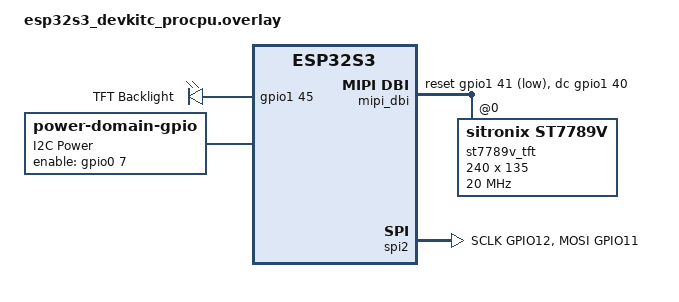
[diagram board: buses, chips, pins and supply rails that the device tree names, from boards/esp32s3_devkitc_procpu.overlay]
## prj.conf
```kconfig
CONFIG_LOG=y

CONFIG_SPI=y
CONFIG_GPIO=y
CONFIG_DISPLAY=y

# 启用 MIPI DBI for LCD
CONFIG_MIPI_DBI=y
CONFIG_MIPI_DBI_SPI=y

# 启用 LVGL 核心功能
CONFIG_LVGL=y
CONFIG_LV_COLOR_DEPTH_16=y
CONFIG_LV_USE_LABEL=y
CONFIG_LV_USE_BUTTON=y
CONFIG_LV_USE_BAR=y
CONFIG_LV_USE_SLIDER=y
CONFIG_LV_USE_ARC=y
CONFIG_LV_USE_SWITCH=y
CONFIG_LV_USE_CHECKBOX=y
CONFIG_LV_USE_THEME_DEFAULT=n
CONFIG_LV_USE_LOG=y

# 字体配置 - 清晰位图字体
CONFIG_LV_FONT_MONTSERRAT_12=y
CONFIG_LV_FONT_MONTSERRAT_8=y
CONFIG_LV_FONT_MONTSERRAT_18=y
CONFIG_LV_FONT_DEFAULT_MONTSERRAT_8=y
CONFIG_LV_FONT_UNSCII_8=y
CONFIG_LV_FONT_UNSCII_16=y

# 内存和性能优化
CONFIG_LV_Z_MEM_POOL_SIZE=32768
CONFIG_LV_Z_BUFFER_ALLOC_STATIC=y

# 启用复杂绘制以避免警告
CONFIG_LV_DRAW_SW_COMPLEX=y

# 显示器设置 - 确保像素完美
CONFIG_LV_COLOR_16_SWAP=n

# LVGL 显示缓冲区配置 - 最小化以减少花色
CONFIG_LV_Z_VDB_SIZE=10
CONFIG_LV_Z_MEM_POOL_SIZE=16384
CONFIG_LV_Z_MEM_POOL_SYS_HEAP=y

# LVGL 刷新配置 - 提高刷新率以获得更清晰显示
CONFIG_LV_DEF_REFR_PERIOD=30
CONFIG_LV_Z_AUTO_INIT=y
CONFIG_LV_Z_FLUSH_THREAD=n

# 增加栈大小
CONFIG_MAIN_STACK_SIZE=8192
CONFIG_SYSTEM_WORKQUEUE_STACK_SIZE=8192
```

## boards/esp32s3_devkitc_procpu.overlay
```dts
/*
 *	FT display overlay for ESP32-S3 DevKitC
 */
/ {
	chosen {
		zephyr,display = &st7789v_tft;
	};

	aliases {
		backlight = &tft_backlight;
	};

	leds {
		compatible = "gpio-leds";
		status = "okay";

		tft_backlight: tft_backlight {
			label = "TFT Backlight";
			gpios = <&gpio1 45 GPIO_ACTIVE_HIGH>;
		};
	};

	mipi_dbi {
		compatible = "zephyr,mipi-dbi-spi";
		spi-dev = <&spi2>;
		dc-gpios = <&gpio1 40 GPIO_ACTIVE_HIGH>;
		reset-gpios = <&gpio1 41 GPIO_ACTIVE_LOW>;
		write-only;
		#address-cells = <1>;
		#size-cells = <0>;

		st7789v_tft: st7789v_tft@0 {
			compatible = "sitronix,st7789v";
			status = "okay";

			/* Also powered by i2c_reg */
			power-domains = <&i2c_reg>;

			mipi-max-frequency = <DT_FREQ_M(20)>;
			reg = <0>;
			width = <240>;
			height = <135>;
			x-offset = <40>;
			y-offset = <52>;
			vcom = <0x20>;
			gctrl = <0x35>;
			vrhs = <0x0b>;
			vdvs = <0x20>;
			mdac = <0x68>;
			gamma = <0x01>;
			colmod = <0x55>;
			lcm = <0x2c>;
			porch-param = [0c 0c 00 33 33];
			cmd2en-param = [5a 69 02 01];
			pwctrl1-param = [a4 a1];
			pvgam-param = [70 2C 2E 15 10 09 48 33 53 0B 19 18 20 25];
			nvgam-param = [70 2C 2E 15 10 09 48 33 53 0B 19 18 20 25];
			ram-param = [00 F0];
			rgb-param = [40 02 14];
			mipi-mode = "MIPI_DBI_MODE_SPI_4WIRE";
		};
	};

	/*
	 *	On-board regulator powers I2C pull-ups and external devices connected
	 *	via the STEMMA QT connector.
	 */
	i2c_reg: i2c_reg {
		label = "I2C Power";
		compatible = "power-domain-gpio";
		#power-domain-cells = <0>;
		enable-gpios = <&gpio0 7 GPIO_ACTIVE_HIGH>;
	};

};

&spi2 { 
	status = "okay"; 
	cs-gpios = <&gpio0 10 GPIO_ACTIVE_LOW>; 
	pinctrl-0 = <&spi2_pins>; 
	pinctrl-names = "default"; 
}; 

&pinctrl { 
	spi2_pins: spi2_pins { 
		group1 { 
			pinmux = <SPIM2_SCLK_GPIO12>; 
		}; 
		group2 { 
			pinmux = <SPIM2_MOSI_GPIO11>; 
			output-enable; 
		}; 
	}; 
};
```

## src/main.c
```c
/*
 * ESP32-S3 TFT Display Application with LVGL
 * Copyright (c) 2025 Heiweilu
 *
 * SPDX-License-Identifier: Apache-2.0
 *
 * ========================================
 * ESP32-S3 + ST7789V TFT Display Application
 * =======================================
 *
 * Hardware Configuration:
 * - Development Board: ESP32-S3 DevKit
 * - Display: ST7789V TFT (240x135 RGB565)
 * - Connection Method: SPI Interface + GPIO Backlight Control
 *
 * Software Architecture:
 * - Zephyr RTOS 4.2.99
 * - LVGL 9.x GUI Framework
 * - Modular Design: Using the lvgl_wrapper Wrapper Library
 *
 * Features:
 * - Modern GUI Interface Design
 * - Status bar: Time display + status icons
 * - Content area: Data card display (sensor data such as temperature)
 * - Bottom navigation: Navigation controls such as the HOME button
 * - Real-time data updates
 *
 * Wrapper libraries used:
 * - lvgl_wrapper.h: LVGL control wrapper function declarations
 * - lvgl_wrapper.c: LVGL control wrapper function implementations
 *
 * Compile command:
 * west build -b esp32s3_devkitc/esp32s3/procpu .\samples\boards\espressif\apps\lcd\tft\
 */

#include <zephyr/kernel.h>
#include <zephyr/device.h>
#include <zephyr/drivers/display.h>
#include <zephyr/devicetree.h>
#include <zephyr/drivers/gpio.h>
#include <zephyr/init.h>
#include <zephyr/devicetree.h>
#include <lvgl.h>
#include <stdio.h>
#include <string.h>
#include <lvgl_input_device.h>
#include "lvgl_wrapper.h"

#include <zephyr/logging/log.h>
LOG_MODULE_REGISTER(main, LOG_LEVEL_INF);

LV_FONT_DECLARE(lv_font_unscii_8)

#define TFT_NODE DT_CHOSEN(zephyr_display)

#if DT_NODE_EXISTS(TFT_NODE)
static const struct gpio_dt_spec backlight = GPIO_DT_SPEC_GET(DT_ALIAS(backlight), gpios);
#endif

/* Test Mode Configuration Macros
 * Usage:
 * 1. Only test LCD functionality: ENABLE_BASIC_LCD_TEST=1, ENABLE_LVGL_TEST=0
 * 2. Only test LVGL functionality: ENABLE_BASIC_LCD_TEST=0, ENABLE_LVGL_TEST=1
 * 3. Disabling both will cause an error
 */
#define ENABLE_LVGL_TEST      1 /* 1: Enable LVGL test with standard APIs, 0: Disable */
#define ENABLE_BASIC_LCD_TEST 0 /* 1: Enable basic LCD test, 0: Disable */

#if ENABLE_BASIC_LCD_TEST
/* Draw a border */
static void draw_border(uint16_t *buf, int width, int height, uint16_t color)
{
	/* Draw a thicker top and bottom border (2 pixels thick) */
	for (int x = 0; x < width; x++) {
		buf[x] = color;                        /* Top row */
		buf[width + x] = color;                /* Second row */
		buf[(height - 2) * width + x] = color; /* Second to last row */
		buf[(height - 1) * width + x] = color; /* Last row */
	}
	/* Draw a thicker left and right border (2 pixels thick) */
	for (int y = 0; y < height; y++) {
		buf[y * width] = color;               /* Left column */
		buf[y * width + 1] = color;           /* Second column */
		buf[y * width + (width - 2)] = color; /* Second to last column */
		buf[y * width + (width - 1)] = color; /* Last column */
	}
}

/* Simple 8x8 pixel font data (0-9) */
static const uint8_t font_8x8_digits[10][8] = {
	{0x3C, 0x66, 0x6E, 0x76, 0x66, 0x66, 0x3C, 0x00}, /* 0 */
	{0x18, 0x18, 0x38, 0x18, 0x18, 0x18, 0x7E, 0x00}, /* 1 */
	{0x3C, 0x66, 0x06, 0x0C, 0x30, 0x60, 0x7E, 0x00}, /* 2 */
	{0x3C, 0x66, 0x06, 0x1C, 0x06, 0x66, 0x3C, 0x00}, /* 3 */
	{0x06, 0x0E, 0x1E, 0x66, 0x7F, 0x06, 0x06, 0x00}, /* 4 */
	{0x7E, 0x60, 0x7C, 0x06, 0x06, 0x66, 0x3C, 0x00}, /* 5 */
	{0x3C, 0x66, 0x60, 0x7C, 0x66, 0x66, 0x3C, 0x00}, /* 6 */
	{0x7E, 0x66, 0x0C, 0x18, 0x18, 0x18, 0x18, 0x00}, /* 7 */
	{0x3C, 0x66, 0x66, 0x3C, 0x66, 0x66, 0x3C, 0x00}, /* 8 */
	{0x3C, 0x66, 0x66, 0x3E, 0x06, 0x66, 0x3C, 0x00}, /* 9 */
};

/* Simple letter font data (partial letters A-Z) */
static const uint8_t font_8x8_letters[26][8] = {
	{0x3C, 0x66, 0x66, 0x7E, 0x66, 0x66, 0x66, 0x00}, /* A */
	{0x7C, 0x66, 0x66, 0x7C, 0x66, 0x66, 0x7C, 0x00}, /* B */
	{0x3C, 0x66, 0x60, 0x60, 0x60, 0x66, 0x3C, 0x00}, /* C */
	{0x78, 0x6C, 0x66, 0x66, 0x66, 0x6C, 0x78, 0x00}, /* D */
	{0x7E, 0x60, 0x60, 0x78, 0x60, 0x60, 0x7E, 0x00}, /* E */
	{0x7E, 0x60, 0x60, 0x78, 0x60, 0x60, 0x60, 0x00}, /* F */
	{0x3C, 0x66, 0x60, 0x6E, 0x66, 0x66, 0x3C, 0x00}, /* G */
	{0x66, 0x66, 0x66, 0x7E, 0x66, 0x66, 0x66, 0x00}, /* H */
	{0x3C, 0x18, 0x18, 0x18, 0x18, 0x18, 0x3C, 0x00}, /* I */
	{0x1E, 0x0C, 0x0C, 0x0C, 0x0C, 0x6C, 0x38, 0x00}, /* J */
	{0x66, 0x6C, 0x78, 0x70, 0x78, 0x6C, 0x66, 0x00}, /* K */
	{0x60, 0x60, 0x60, 0x60, 0x60, 0x60, 0x7E, 0x00}, /* L */
	{0x63, 0x77, 0x7F, 0x6B, 0x63, 0x63, 0x63, 0x00}, /* M */
	{0x66, 0x76, 0x7E, 0x7E, 0x6E, 0x66, 0x66, 0x00}, /* N */
	{0x3C, 0x66, 0x66, 0x66, 0x66, 0x66, 0x3C, 0x00}, /* O */
	{0x7C, 0x66, 0x66, 0x7C, 0x60, 0x60, 0x60, 0x00}, /* P */
	{0x3C, 0x66, 0x66, 0x66, 0x66, 0x3C, 0x0E, 0x00}, /* Q */
	{0x7C, 0x66, 0x66, 0x7C, 0x78, 0x6C, 0x66, 0x00}, /* R */
	{0x3C, 0x66, 0x60, 0x3C, 0x06, 0x66, 0x3C, 0x00}, /* S */
	{0x7E, 0x18, 0x18, 0x18, 0x18, 0x18, 0x18, 0x00}, /* T */
	{0x66, 0x66, 0x66, 0x66, 0x66, 0x66, 0x3C, 0x00}, /* U */
	{0x66, 0x66, 0x66, 0x66, 0x66, 0x3C, 0x18, 0x00}, /* V */
	{0x63, 0x63, 0x63, 0x6B, 0x7F, 0x77, 0x63, 0x00}, /* W */
	{0x66, 0x66, 0x3C, 0x18, 0x3C, 0x66, 0x66, 0x00}, /* X */
	{0x66, 0x66, 0x66, 0x3C, 0x18, 0x18, 0x18, 0x00}, /* Y */
	{0x7E, 0x06, 0x0C, 0x18, 0x30, 0x60, 0x7E, 0x00}, /* Z */
};

/* Draw an 8x8 character */
static void draw_char_8x8(uint16_t *buf, int width, int height, char c, int x, int y,
			  uint16_t color)
{
	const uint8_t *font_data = NULL;

	if (c >= '0' && c <= '9') {
		font_data = font_8x8_digits[c - '0'];
	} else if (c >= 'A' && c <= 'Z') {
		font_data = font_8x8_letters[c - 'A'];
	} else if (c >= 'a' && c <= 'z') {
		font_data = font_8x8_letters[c - 'a']; /* Lowercase is translated to uppercase */
	} else {
		return; /* Unsupported character */
	}

	for (int row = 0; row < 8; row++) {
		uint8_t line = font_data[row];
		for (int col = 0; col < 8; col++) {
			if (line & (0x80 >> col)) {
				int px = x + col;
				int py = y + row;
				if (px >= 0 && px < width && py >= 0 && py < height) {
					buf[py * width + px] = color;
				}
			}
		}
	}
}

/* Draw a number */
static void draw_number(uint16_t *buf, int width, int height, int number, int x, int y,
			uint16_t color)
{
	char num_str[16];
	snprintf(num_str, sizeof(num_str), "%d", number);

	int char_x = x;
	for (int i = 0; num_str[i] != '\0'; i++) {
		draw_char_8x8(buf, width, height, num_str[i], char_x, y, color);
		char_x += 9; /* 8 pixel character width + 1 pixel spacing */
	}
}

/* Draw a float */
static void draw_float(uint16_t *buf, int width, int height, float number, int x, int y,
		       uint16_t color)
{
	char num_str[16];
	snprintf(num_str, sizeof(num_str), "%.1f", (double)number);

	int char_x = x;
	for (int i = 0; num_str[i] != '\0'; i++) {
		if (num_str[i] == '.') {
			/* Draw point */
			if (char_x + 3 < width && y + 7 < height) {
				buf[(y + 7) * width + (char_x + 3)] = color;
				buf[(y + 7) * width + (char_x + 4)] = color;
			}
			char_x += 6;
		} else {
			draw_char_8x8(buf, width, height, num_str[i], char_x, y, color);
			char_x += 9;
		}
	}
}

/* Draw text */
static void draw_text(uint16_t *buf, int width, int height, const char *text, int x, int y,
		      uint16_t color)
{
	int char_x = x;
	for (int i = 0; text[i] != '\0'; i++) {
		if (text[i] == ' ') {
			char_x += 9; /* Space width */
		} else {
			draw_char_8x8(buf, width, height, text[i], char_x, y, color);
			char_x += 9;
		}
	}
}
/**
 * @brief Basic LCD test function
 * @param disp Display device pointer
 * @return 0 on success, negative error code on failure
 */
static int test_basic_lcd(const struct device *disp)
{
	LOG_INF("===== Running basic LCD test =====");

	/* Get display capabillities */
	struct display_capabilities caps;
	display_get_capabilities(disp, &caps);
	LOG_INF("Display: %dx%d, pixel format: %d", caps.x_resolution, caps.y_resolution,
		caps.current_pixel_format);

	/* Check if the pixel format is RGB565(16 bits per pixel) */
	if (caps.current_pixel_format != PIXEL_FORMAT_RGB_565) {
		LOG_ERR("Unsupported pixel format: %d (expected RGB565)",
			caps.current_pixel_format);
		return -ENOTSUP;
	}

	/* Use static buffers */
	static uint16_t test_buf[240 * 135]; /* RGB565: 2 bytes per pixel, Landscape mode */
	size_t buf_size = sizeof(test_buf);

	LOG_INF("Using static buffer of %zu bytes", buf_size);

	/* Set the buffer descriptor */
	struct display_buffer_descriptor desc = {
		.buf_size = buf_size,
		.width = caps.x_resolution,
		.height = caps.y_resolution,
		.pitch = caps.x_resolution,
		.frame_incomplete = false,
	};

	/* Turn off display blanking mode */
	display_blanking_off(disp);
	LOG_INF("Display blanking turned off");

	/* Define color array (RGB565 format) */
	uint16_t colors[] = {0xF800, 0x001F, 0x07E0, 0xFFFF,
			     0x0000}; /* Red, Blue, Green, White, Black */
	const char *color_names[] = {"Red", "Blue", "Green", "White", "Black"};

	/* Test each color one by one */
	for (int color_idx = 0; color_idx < 5; color_idx++) {
		/* Fill the entire buffer with the specified color */
		for (int i = 0; i < caps.x_resolution * caps.y_resolution; i++) {
			test_buf[i] = colors[color_idx];
		}

		LOG_INF("Testing %s screen...", color_names[color_idx]);
		int ret = display_write(disp, 0, 0, &desc, test_buf);
		if (ret != 0) {
			LOG_ERR("Display write failed: %d", ret);
			return ret;
		} else {
			LOG_INF("%s screen displayed successfully", color_names[color_idx]);
		}

		k_msleep(2000);
	}

	/* Test landscape pattern */
	LOG_INF("Testing landscape pattern...");

	/* Create a horizontal stripes pattern to confirm orientation */
	for (int y = 0; y < caps.y_resolution; y++) {
		for (int x = 0; x < caps.x_resolution; x++) {
			int idx = y * caps.x_resolution + x;

			if (y < caps.y_resolution / 4) {
				test_buf[idx] = 0xF800; /* Red */
			} else if (y < caps.y_resolution / 2) {
				test_buf[idx] = 0x07E0; /* Green */
			} else if (y < 3 * caps.y_resolution / 4) {
				test_buf[idx] = 0x001F; /* Blue */
			} else {
				test_buf[idx] = 0xFFFF; /* White */
			}
		}
	}

	int ret = display_write(disp, 0, 0, &desc, test_buf);
	LOG_INF("Horizontal stripes pattern displayed: %d", ret);
	k_msleep(3000);

	/* Create a portrait pattern to confirm orientation */
	LOG_INF("Testing portrait pattern...");
	for (int y = 0; y < caps.y_resolution; y++) {
		for (int x = 0; x < caps.x_resolution; x++) {
			int idx = y * caps.x_resolution + x;

			if (x < caps.x_resolution / 4) {
				test_buf[idx] = 0xF800; /* Red */
			} else if (x < caps.x_resolution / 2) {
				test_buf[idx] = 0x07E0; /* Green */
			} else if (x < 3 * caps.x_resolution / 4) {
				test_buf[idx] = 0x001F; /* Blue */
			} else {
				test_buf[idx] = 0xFFFF; /* White */
			}
		}
	}

	ret = display_write(disp, 0, 0, &desc, test_buf);
	LOG_INF("Vertical stripes pattern displayed: %d", ret);
	k_msleep(3000);

	/* Main loop for number and text display */
	int counter = 0;
	float number = 123.456;
	const char *messages[] = {"Hello ESP32-S3!", "Display Works!", "Numbers & Text",
				  "ST7789V TFT OK"};

	while (1) {
		/* Clear the buffer to black */
		for (int i = 0; i < caps.x_resolution * caps.y_resolution; i++) {
			test_buf[i] = 0x0000; /* Black background */
		}

		/* Draw a simple border */
		draw_border(test_buf, caps.x_resolution, caps.y_resolution, 0xFFFF);

		/* Display counter number - top left, avoiding border */
		draw_number(test_buf, caps.x_resolution, caps.y_resolution, counter, 10, 20,
			    0xF800); /* Red */

		/* Display float - middle top */
		draw_float(test_buf, caps.x_resolution, caps.y_resolution, number + counter * 0.1f,
			   10, 40, 0x07E0); /* Green */

		/* Display text message - middle */
		int msg_idx = (counter / 10) % 4; /* Change message every 10 loops */
		draw_text(test_buf, caps.x_resolution, caps.y_resolution, messages[msg_idx], 10, 70,
			  0x001F); /* Blue */

		/* Display status information - bottom but within border */
		char status[32];
		snprintf(status, sizeof(status), "Loop: %d", counter);
		draw_text(test_buf, caps.x_resolution, caps.y_resolution, status, 10, 100,
			  0xFFE0); /* Yellow */

		/* Add more landscape layout information - right side, avoiding border */
		char info[32];
		snprintf(info, sizeof(info), "240x135");
		draw_text(test_buf, caps.x_resolution, caps.y_resolution, info, 150, 20,
			  0xF81F); /* Purple */

		/* Write to display */
		ret = display_write(disp, 0, 0, &desc, test_buf);
		if (ret == 0) {
			LOG_INF("Frame %d: Counter=%d, Number=%.1f, Message='%s'", counter, counter,
				(double)(number + counter * 0.1f), messages[msg_idx]);
		} else {
			LOG_ERR("Display write failed: %d", ret);
		}

		counter++;
		k_msleep(1000); /* 1 second */
	}

	return 0;
}
#endif /* ENABLE_BASIC_LCD_TEST */

/* Weather icon patterns */
static const uint16_t icon_sun[16 * 16] = {
	0x0000, 0x0000, 0x0000, 0x0000, 0xFFE0, 0x0000, 0x0000, 0x0000, 0x0000, 0x0000, 0xFFE0,
	0x0000, 0x0000, 0x0000, 0x0000, 0x0000, 0x0000, 0x0000, 0x0000, 0x0000, 0xFFE0, 0x0000,
	0x0000, 0x0000, 0x0000, 0x0000, 0xFFE0, 0x0000, 0x0000, 0x0000, 0x0000, 0x0000, 0x0000,
	0x0000, 0x0000, 0x0000, 0x0000, 0x0000, 0x0000, 0x0000, 0x0000, 0x0000, 0x0000, 0x0000,
	0x0000, 0x0000, 0x0000, 0x0000, 0xFFE0, 0x0000, 0x0000, 0xFFE0, 0xFFE0, 0xFFE0, 0xFFE0,
	0xFFE0, 0xFFE0, 0xFFE0, 0xFFE0, 0xFFE0, 0x0000, 0x0000, 0xFFE0, 0x0000, 0x0000, 0x0000,
	0x0000, 0xFFE0, 0xFFE0, 0xFFE0, 0xFFE0, 0xFFE0, 0xFFE0, 0xFFE0, 0xFFE0, 0xFFE0, 0x0000,
	0x0000, 0x0000, 0x0000, 0x0000, 0x0000, 0xFFE0, 0xFFE0, 0xFFE0, 0xFFE0, 0xFFE0, 0xFFE0,
	0xFFE0, 0xFFE0, 0xFFE0, 0xFFE0, 0xFFE0, 0x0000, 0x0000, 0x0000, 0x0000, 0x0000, 0xFFE0,
	0xFFE0, 0xFFE0, 0xFFE0, 0xFFE0, 0xFFE0, 0xFFE0, 0xFFE0, 0xFFE0, 0xFFE0, 0xFFE0, 0x0000,
	0x0000, 0x0000, 0x0000, 0x0000, 0xFFE0, 0xFFE0, 0xFFE0, 0xFFE0, 0xFFE0, 0xFFE0, 0xFFE0,
	0xFFE0, 0xFFE0, 0xFFE0, 0xFFE0, 0x0000, 0x0000, 0x0000, 0x0000, 0x0000, 0xFFE0, 0xFFE0,
	0xFFE0, 0xFFE0, 0xFFE0, 0xFFE0, 0xFFE0, 0xFFE0, 0xFFE0, 0xFFE0, 0xFFE0, 0x0000, 0x0000,
	0x0000, 0x0000, 0x0000, 0xFFE0, 0xFFE0, 0xFFE0, 0xFFE0, 0xFFE0, 0xFFE0, 0xFFE0, 0xFFE0,
	0xFFE0, 0xFFE0, 0xFFE0, 0x0000, 0x0000, 0x0000, 0x0000, 0x0000, 0x0000, 0xFFE0, 0xFFE0,
	0xFFE0, 0xFFE0, 0xFFE0, 0xFFE0, 0xFFE0, 0xFFE0, 0xFFE0, 0x0000, 0x0000, 0x0000, 0x0000,
	0xFFE0, 0x0000, 0x0000, 0xFFE0, 0xFFE0, 0xFFE0, 0xFFE0, 0xFFE0, 0xFFE0, 0xFFE0, 0xFFE0,
	0xFFE0, 0x0000, 0x0000, 0xFFE0, 0x0000, 0x0000, 0x0000, 0x0000, 0x0000, 0x0000, 0x0000,
	0x0000, 0x0000, 0x0000, 0x0000, 0x0000, 0x0000, 0x0000, 0x0000, 0x0000, 0x0000, 0x0000,
	0x0000, 0x0000, 0x0000, 0xFFE0, 0x0000, 0x0000, 0x0000, 0x0000, 0x0000, 0xFFE0, 0x0000,
	0x0000, 0x0000, 0x0000, 0x0000, 0x0000, 0x0000, 0x0000, 0x0000, 0xFFE0, 0x0000, 0x0000,
	0x0000, 0x0000, 0x0000, 0xFFE0, 0x0000, 0x0000, 0x0000, 0x0000, 0x0000, 0x0000, 0x0000,
	0x0000, 0x0000, 0x0000, 0x0000, 0x0000, 0x0000, 0x0000, 0x0000, 0x0000, 0x0000, 0x0000,
	0x0000, 0x0000, 0x0000,
};

/* GUI Application Structure - Modular Design */
typedef struct {
	lv_obj_t *main_screen;

	/* Status Bar Components */
	struct {
		lv_obj_t *container;
		lv_obj_t *time_label;
		lv_obj_t *weather_icon;
	} status_bar;

	/* Content Area Components */
	struct {
		lv_obj_t *container;
		lv_obj_t *temp_card;
		lv_obj_t *temp_label; /* 保存温度标签的引用 */
		lv_obj_t *counter_card;
		lv_obj_t *counter_label; /* 保存计数器标签的引用 */
	} content_area;

	/* Bottom Navigation Components */
	struct {
		lv_obj_t *container;
		lv_obj_t *home_btn;
	} bottom_nav;

	/* Application State */
	struct {
		uint32_t last_update;
		int current_page;
		bool initialized;
	} state;
} gui_app_t;

static gui_app_t app = {0};

/* Event handlers */
static void nav_btn_event_handler(lv_event_t *e)
{
	lv_event_code_t code = lv_event_get_code(e);
	if (code == LV_EVENT_CLICKED) {
		lv_obj_t *btn = lv_event_get_target_obj(e);
		int page = (int)(intptr_t)lv_event_get_user_data(e);
		app.state.current_page = page;
		LOG_INF("Navigation: Page %d selected", page);

		/* Update button styles to show active state */
		lv_obj_set_style_bg_color(app.bottom_nav.home_btn, lv_color_make(0x40, 0x40, 0x40),
					  0);

		lv_obj_set_style_bg_color(btn, lv_color_make(0x00, 0x80, 0xFF), 0);
	}
}

/* Create status bar */
static void create_status_bar(void)
{
	app.status_bar.container = create_container(app.main_screen, 240, 25, 0, 0, 30, 0, 2,
						    lv_color_make(0x20, 0x20, 0x20), 1);

	/* Time label */
	app.status_bar.time_label = create_label(app.status_bar.container, "12:34", 5, 3,
						 lv_color_white(), &lv_font_unscii_8, false);

	/* Weather icon */
	app.status_bar.weather_icon = create_icon_image(app.status_bar.container, icon_sun, 120, 5);
}

/* Create content area with cards */
static void create_content_area(void)
{
	/* Content container */
	app.content_area.container = create_container(app.main_screen, 240, 85, 0, 25, 0, 0, 5,
						      lv_color_make(0x10, 0x10, 0x10), 1);

	/* Temperature Card */
	app.content_area.temp_card =
		create_card_with_label(app.content_area.container, "TEMP", "25.0C", 70, 60, 5, 5, 8,
				       lv_color_make(0xFF, 0x40, 0x40), lv_color_white());

	/* 获取温度卡片中的标签引用 */
	app.content_area.temp_label = lv_obj_get_child(app.content_area.temp_card, 0);

	/* Counter Card */
	app.content_area.counter_card =
		create_card_with_label(app.content_area.container, "COUNT", "0", 70, 60, 85, 5, 8,
				       lv_color_make(0x40, 0xFF, 0x40), lv_color_white());

	/* 获取计数器卡片中的标签引用 */
	app.content_area.counter_label = lv_obj_get_child(app.content_area.counter_card, 0);
}

/* Create bottom navigation */
static void create_bottom_navigation(void)
{
	app.bottom_nav.container = create_container(app.main_screen, 240, 25, 0, 110, 0, 0, 2,
						    lv_color_make(0x30, 0x30, 0x30), 1);

	/* Home button */
	app.bottom_nav.home_btn = create_button_with_label(
		app.bottom_nav.container, "HOME", 60, 20, 10, 2, 3, lv_color_make(0x00, 0x80, 0xFF),
		lv_color_white(), &lv_font_unscii_8, nav_btn_event_handler, (void *)0);
}

/* Update GUI data */
static void update_gui_data(uint32_t counter)
{
	/* Update time */
	uint32_t seconds = counter / 10;
	uint32_t minutes = (seconds / 60) % 60;
	uint32_t hours = (minutes / 60) % 24;
	lv_label_set_text_fmt(app.status_bar.time_label, "%02d:%02d", (int)hours, (int)minutes);

	/* Update sensor data simulation - 让温度数据更明显地变化 */
	float temp = 20.0f + (counter % 200) * 0.05f; /* 温度范围20.0-29.95°C，变化更快 */

	/* Update temperature label using saved reference */
	if (app.content_area.temp_label) {
		/* 使用整数来避免浮点数格式化问题 */
		int temp_int = (int)(temp * 10); /* 将温度乘以10转换为整数 */
		int temp_whole = temp_int / 10;  /* 整数部分 */
		int temp_frac = temp_int % 10;   /* 小数部分 */
		lv_label_set_text_fmt(app.content_area.temp_label, "TEMP\n%d.%dC", temp_whole,
				      temp_frac);
	}

	/* Update counter display - 实时显示counter值 */
	if (app.content_area.counter_label) {
		lv_label_set_text_fmt(app.content_area.counter_label, "COUNT\n%d", (int)counter);
	}
}

/* Modern GUI Application with icons and images */
static int test_modern_gui(const struct device *disp)
{
	struct display_capabilities caps;
	display_get_capabilities(disp, &caps);
	LOG_INF("GUI Display: %dx%d, pixel format: %d", caps.x_resolution, caps.y_resolution,
		caps.current_pixel_format);

	display_blanking_off(disp);
	k_msleep(500);

	/* Initialize application */
	app.main_screen = lv_screen_active();
	lv_obj_set_style_bg_color(app.main_screen, lv_color_black(),
				  LV_PART_MAIN); /* background  Color  */
	lv_obj_set_style_bg_opa(app.main_screen, LV_OPA_COVER, LV_PART_MAIN); /* Full background */

	app.state.current_page = 0;
	app.state.last_update = k_uptime_get_32(); /* Initialize last update time */
	app.state.initialized = true;

	/* Create GUI components */
	create_status_bar();
	create_content_area();
	create_bottom_navigation();

	uint32_t counter = 0;

	/* Initial refresh */
	lv_timer_handler();

	while (1) {
		/* Update GUI more frequently for better visual feedback */
		update_gui_data(counter);

		/* Page-specific updates */
		switch (app.state.current_page) {
		case 0: /* Home page */
			/* Already handled in update_gui_data */
			break;
		case 1: /* Settings page */
			/* Could add settings-specific updates here */
			LOG_DBG("Settings page active");
			break;
		case 2: /* Info page */
			/* Could add info-specific updates here */
			LOG_DBG("Info page active");
			break;
		}

		counter++;
		lv_timer_handler();
		k_msleep(100); /* 每100ms更新一次，显示更流畅 */
	}

	return 0;
}

int main(void)
{
	const struct device *disp = DEVICE_DT_GET(TFT_NODE);
	if (!device_is_ready(disp)) {
		LOG_ERR("Display not ready");
		return -ENODEV;
	}

	LOG_INF("Display device ready: %s", disp->name);

#if DT_NODE_EXISTS(TFT_NODE) && DT_NODE_EXISTS(DT_ALIAS(backlight))
	if (gpio_is_ready_dt(&backlight)) {
		gpio_pin_configure_dt(&backlight, GPIO_OUTPUT_ACTIVE); /* open backlight */
		LOG_INF("Backlight on pin: %d", backlight.pin);
	}
#endif

#if ENABLE_BASIC_LCD_TEST && !ENABLE_LVGL_TEST
	return test_basic_lcd(disp);

#elif ENABLE_LVGL_TEST && !ENABLE_BASIC_LCD_TEST && CONFIG_LVGL
	return test_modern_gui(disp);

#else
	LOG_ERR("Both tests are disabled! Enable at least one test.");
	return -EINVAL;

#endif
}
```

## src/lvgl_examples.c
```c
/*
 * LVGL Widget Wrapper Library Usage Example
 * Copyright (c) 2025 Heiweilu
 *
 * SPDX-License-Identifier: Apache-2.0
 *
 * 这个文件展示了如何使用LVGL封装库快速创建UI界面
 */
/* ========================================
 * 使用方法总结
 * ======================================== */

/*
LVGL变量显示控制完整指南：

=== 1. 基本控件创建 ===
#include "lvgl_wrapper.h"

- 使用 create_container() 创建容器布局
- 使用 create_button_with_label() 创建按钮
- 使用 create_label() 创建文本标签
- 使用 create_slider() 创建滑动条
- 使用 create_progress_bar() 创建进度条
- 使用 create_switch() 创建开关
- 使用 create_checkbox() 创建复选框
- 使用 create_card_with_label() 创建数据卡片
- 使用 create_icon() 创建图标

=== 2. 变量显示控制方法 ===

A) 静态显示：
   lv_obj_t *label = create_label(parent, "Initial Text", x, y, color, font, center);

B) 动态更新 - 整数：
   lv_label_set_text_fmt(label, "%d", integer_variable);

C) 动态更新 - 浮点数：
   // 方法1：直接使用浮点格式（需要确保系统支持）
   lv_label_set_text_fmt(label, "%.2f", (double)float_variable);

   // 方法2：推荐 - 使用整数避免浮点格式化问题
   int temp_int = (int)(temperature * 10);
   int temp_whole = temp_int / 10;
   int temp_frac = temp_int % 10;
   lv_label_set_text_fmt(label, "%d.%dC", temp_whole, temp_frac);

D) 动态更新 - 字符串：
   lv_label_set_text(label, string_variable);

E) 动态更新 - 布尔值：
   lv_label_set_text(label, bool_variable ? "ON" : "OFF");

F) 进度条数值绑定：
   lv_obj_t *progress = create_progress_bar(parent, w, h, x, y, min, max, value, bg_color,
fg_color); lv_bar_set_value(progress, new_value, LV_ANIM_OFF);  // 更新进度条

G) 滑动条数值绑定：
   lv_obj_t *slider = create_slider(parent, w, h, x, y, min, max, value, bg_color, fg_color,
callback); int32_t value = lv_slider_get_value(slider);  // 在回调中获取值

=== 3. 实时更新策略 ===

A) 事件驱动更新：
   static void button_handler(lv_event_t *e) {
       if (lv_event_get_code(e) == LV_EVENT_CLICKED) {
	   // 更新变量
	   variable++;
	   // 更新显示
	   lv_label_set_text_fmt(label, "%d", variable);
       }
   }

B) 定时器更新：
   static void timer_cb(lv_timer_t *timer) {
       // 读取传感器或更新变量
       temperature = read_sensor();
       // 更新显示
       lv_label_set_text_fmt(temp_label, "%.1f°C", (double)temperature);
   }

   // 创建定时器（每1000ms执行一次）
   lv_timer_create(timer_cb, 1000, NULL);

C) 主循环更新：
   while(1) {
       // 更新变量
       update_variables();
       // 更新GUI显示
       update_gui_display();
       // LVGL任务处理
       lv_timer_handler();
       k_msleep(100);
   }

=== 4. 变量类型处理示例 ===

// 整数变量
int temperature = 25;
lv_label_set_text_fmt(temp_label, "%d°C", temperature);

// 浮点变量 - 推荐使用整数方法避免格式化问题
float voltage = 3.14f;
// 方法1：直接格式化（某些系统可能显示"float"）
lv_label_set_text_fmt(volt_label, "%.2fV", (double)voltage);
// 方法2：推荐 - 使用整数避免问题
int volt_int = (int)(voltage * 100);
int volt_whole = volt_int / 100;
int volt_frac = volt_int % 100;
lv_label_set_text_fmt(volt_label, "%d.%02dV", volt_whole, volt_frac);

// 字符串变量
char device_name[32] = "ESP32-S3";
lv_label_set_text(name_label, device_name);

// 布尔变量
bool led_on = true;
lv_label_set_text(status_label, led_on ? "ON" : "OFF");
lv_obj_set_style_text_color(status_label, led_on ? lv_color_green() : lv_color_red(), 0);

// 数组变量
int sensor_data[4] = {25, 60, 1013, 15};
for(int i = 0; i < 4; i++) {
    lv_label_set_text_fmt(sensor_labels[i], "%d", sensor_data[i]);
}

=== 5. 高级技巧 ===

A) 格式化显示：
   lv_label_set_text_fmt(label, "Temp: %d°C\nHumidity: %d%%", temp, humidity);

   // 对于浮点数，推荐使用整数方法
   int temp_int = (int)(temp_float * 10);
   lv_label_set_text_fmt(label, "Temp: %d.%dC\nHumidity: %d%%",
			temp_int/10, temp_int%10, humidity);

B) 条件显示：
   lv_obj_set_style_text_color(label, (value > threshold) ? lv_color_red() : lv_color_green(), 0);

C) 动画更新：
   lv_bar_set_value(progress, new_value, LV_ANIM_ON);  // 带动画的进度条更新

D) 范围限制：
   value = (value < min) ? min : ((value > max) ? max : value);

E) 对象指针管理：
   // 保存标签指针供后续更新
   static lv_obj_t *temp_label = NULL;
   temp_label = create_label(...);

   // 或使用用户数据
   lv_obj_set_user_data(label, "temperature_sensor");

=== 6. 布局和设计建议 ===

- 使用一致的颜色编码表示不同类型的数据
- 为不同范围的数值使用不同颜色（正常/警告/错误）
- 保持标签和数值的对齐
- 使用合适的字体大小确保可读性
- 预留足够空间显示最大可能的数值

=== 7. 性能优化和兼容性建议 ===

- 只在数值真正改变时才更新显示
- 使用定时器控制更新频率，避免过于频繁的刷新
- 批量更新多个控件后再调用 lv_timer_handler()
- 对于高频更新的数据，考虑使用平均值或滤波
- 浮点数显示：某些嵌入式系统的printf可能不完全支持浮点格式化，
  如果显示"float"而非数值，建议使用整数方法进行格式化
- 避免使用特殊Unicode字符（如°符号），可能导致显示问题

这些方法让你能够轻松地在LVGL界面中显示和控制各种类型的变量！
*/

#include <stdio.h>
#include <stdlib.h>
#include "lvgl_wrapper.h"

LV_FONT_DECLARE(lv_font_unscii_8)

/* ========================================
 * 事件处理函数声明
 * ======================================== */

static void button_event_handler(lv_event_t *e);
static void slider_event_handler(lv_event_t *e);
static void switch_event_handler(lv_event_t *e);
static void checkbox_event_handler(lv_event_t *e);

// 变量显示控制相关函数声明
static void update_variables_handler(lv_event_t *e);
static void toggle_led_handler(lv_event_t *e);
static void reset_variables_handler(lv_event_t *e);
static void voltage_slider_handler(lv_event_t *e);
static void start_timer_handler(lv_event_t *e);
static void stop_timer_handler(lv_event_t *e);
static void timer_update_cb(lv_timer_t *timer);

/* ========================================
 * 事件处理函数示例
 * ======================================== */

static void button_event_handler(lv_event_t *e)
{
	lv_event_code_t code = lv_event_get_code(e);
	if (code == LV_EVENT_CLICKED) {
		// 按钮被点击
		printf("Button clicked!\n");
	}
}

static void slider_event_handler(lv_event_t *e)
{
	lv_obj_t *slider = lv_event_get_target_obj(e);
	int32_t value = lv_slider_get_value(slider);
	printf("Slider value: %d\n", (int)value);
}

static void switch_event_handler(lv_event_t *e)
{
	lv_obj_t *sw = lv_event_get_target_obj(e);
	bool state = lv_obj_has_state(sw, LV_STATE_CHECKED);
	printf("Switch state: %s\n", state ? "ON" : "OFF");
}

static void checkbox_event_handler(lv_event_t *e)
{
	lv_obj_t *cb = lv_event_get_target_obj(e);
	bool checked = lv_obj_has_state(cb, LV_STATE_CHECKED);
	printf("Checkbox: %s\n", checked ? "Checked" : "Unchecked");
}

/* ========================================
 * UI创建示例
 * ======================================== */

/**
 * 示例1：创建一个简单的控制面板
 */
void create_control_panel_example(void)
{
	lv_obj_t *screen = lv_screen_active();

	// 创建主容器
	lv_obj_t *main_container =
		create_container(screen, 240, 135, 0, 0, 10, 2, 8, lv_color_hex(0x1E1E1E), 1);

	// 创建标题
	create_label(main_container, "CONTROL PANEL", 120, 15, lv_color_white(), &lv_font_unscii_8,
		     true);

	// 创建控制按钮
	create_button_with_label(main_container, "START", 60, 25, 10, 35, 5, lv_color_hex(0x4CAF50),
				 lv_color_white(), &lv_font_unscii_8, button_event_handler, NULL);

	create_button_with_label(main_container, "STOP", 60, 25, 80, 35, 5, lv_color_hex(0xF44336),
				 lv_color_white(), &lv_font_unscii_8, button_event_handler, NULL);

	create_button_with_label(main_container, "RESET", 60, 25, 150, 35, 5,
				 lv_color_hex(0xFF9800), lv_color_white(), &lv_font_unscii_8,
				 button_event_handler, NULL);

	// 创建速度滑动条
	create_label(main_container, "Speed:", 10, 70, lv_color_white(), &lv_font_unscii_8, false);
	create_slider(main_container, 120, 15, 50, 72, 0, 100, 50, lv_color_hex(0x2196F3),
		      lv_color_hex(0xFFFFFF), slider_event_handler);

	// 创建开关控制
	create_label(main_container, "LED:", 10, 95, lv_color_white(), &lv_font_unscii_8, false);
	create_switch(main_container, 50, 95, false, lv_color_hex(0x757575), lv_color_hex(0x4CAF50),
		      switch_event_handler);

	// 创建复选框
	create_checkbox(main_container, "Auto Mode", 110, 95, false, lv_color_white(),
			&lv_font_unscii_8, checkbox_event_handler);
}

/**
 * 示例2：创建一个数据监控面板
 */
void create_monitoring_panel_example(void)
{
	lv_obj_t *screen = lv_screen_active();

	// 创建主容器
	lv_obj_t *main_container =
		create_container(screen, 240, 135, 0, 0, 8, 1, 5, lv_color_hex(0x0F1419), 1);

	// 创建标题
	create_label(main_container, "SYSTEM MONITOR", 120, 10, lv_color_hex(0x00D9FF),
		     &lv_font_unscii_8, true);

	// 创建温度卡片
	create_card_with_label(main_container, "TEMP", "24.5°C", 70, 40, 10, 25, 8,
			       lv_color_hex(0xFF6B35), lv_color_white());

	// 创建湿度卡片
	create_card_with_label(main_container, "HUMIDITY", "65%", 70, 40, 85, 25, 8,
			       lv_color_hex(0x00A8CC), lv_color_white());

	// 创建压力卡片
	create_card_with_label(main_container, "PRESSURE", "1013hPa", 70, 40, 160, 25, 8,
			       lv_color_hex(0x7209B7), lv_color_white());

	// 创建CPU使用率进度条
	create_label(main_container, "CPU:", 10, 75, lv_color_white(), &lv_font_unscii_8, false);
	create_progress_bar(main_container, 180, 12, 35, 78, 0, 100, 45, lv_color_hex(0x404040),
			    lv_color_hex(0x00FF88));

	// 创建内存使用率进度条
	create_label(main_container, "MEM:", 10, 95, lv_color_white(), &lv_font_unscii_8, false);
	create_progress_bar(main_container, 180, 12, 35, 98, 0, 100, 72, lv_color_hex(0x404040),
			    lv_color_hex(0xFF6B35));

	// 创建状态指示图标
	create_icon(NULL, NULL, 220, 5, 12, lv_color_hex(0x00FF00), "OK");
}

/**
 * 示例3：创建一个设置界面
 */
void create_settings_panel_example(void)
{
	lv_obj_t *screen = lv_screen_active();

	// 创建主容器
	lv_obj_t *main_container =
		create_container(screen, 240, 135, 0, 0, 12, 1, 10, lv_color_hex(0x2C3E50), 1);

	// 创建标题
	create_label(main_container, "SETTINGS", 120, 15, lv_color_hex(0xECF0F1), &lv_font_unscii_8,
		     true);

	// 亮度调节
	create_label(main_container, "Brightness:", 15, 35, lv_color_white(), &lv_font_unscii_8,
		     false);
	create_slider(main_container, 120, 15, 90, 37, 10, 100, 80, lv_color_hex(0x34495E),
		      lv_color_hex(0xF39C12), slider_event_handler);

	// 音量调节
	create_label(main_container, "Volume:", 15, 55, lv_color_white(), &lv_font_unscii_8, false);
	create_slider(main_container, 120, 15, 90, 57, 0, 100, 60, lv_color_hex(0x34495E),
		      lv_color_hex(0x9B59B6), slider_event_handler);

	// 功能开关
	create_checkbox(main_container, "WiFi", 15, 80, true, lv_color_white(), &lv_font_unscii_8,
			checkbox_event_handler);

	create_checkbox(main_container, "Bluetooth", 80, 80, false, lv_color_white(),
			&lv_font_unscii_8, checkbox_event_handler);

	create_checkbox(main_container, "Auto Save", 170, 80, true, lv_color_white(),
			&lv_font_unscii_8, checkbox_event_handler);

	// 保存按钮
	create_button_with_label(main_container, "SAVE", 80, 25, 80, 105, 6, lv_color_hex(0x27AE60),
				 lv_color_white(), &lv_font_unscii_8, button_event_handler, NULL);
}

/* ========================================
 * 变量显示控制示例
 * ======================================== */

// 全局变量示例
static int system_temperature = 25;
static int cpu_usage = 45;
static float voltage = 3.3f;
static bool led_status = false;
static char device_name[32] = "ESP32-S3";

// 用于存储标签对象的指针，以便后续更新
static lv_obj_t *temp_value_label = NULL;
static lv_obj_t *cpu_value_label = NULL;
static lv_obj_t *voltage_value_label = NULL;
static lv_obj_t *status_label = NULL;

/**
 * 示例4：变量显示和实时更新
 */
void create_variable_display_example(void)
{
	lv_obj_t *screen = lv_screen_active();

	// 创建主容器
	lv_obj_t *main_container =
		create_container(screen, 240, 135, 0, 0, 8, 1, 8, lv_color_hex(0x1A1A1A), 1);

	// 标题
	create_label(main_container, "VARIABLE DISPLAY", 120, 5, lv_color_hex(0x00FF88),
		     &lv_font_unscii_8, true);

	// 显示温度变量
	create_label(main_container, "Temperature:", 5, 25, lv_color_white(), &lv_font_unscii_8,
		     false);
	temp_value_label = create_label(main_container, "25°C", 90, 25, lv_color_hex(0xFF6B35),
					&lv_font_unscii_8, false);

	// 显示CPU使用率变量
	create_label(main_container, "CPU Usage:", 5, 40, lv_color_white(), &lv_font_unscii_8,
		     false);
	cpu_value_label = create_label(main_container, "45%", 90, 40, lv_color_hex(0x00A8CC),
				       &lv_font_unscii_8, false);

	// 显示电压变量（浮点数）- 使用整数方法避免格式化问题
	create_label(main_container, "Voltage:", 5, 55, lv_color_white(), &lv_font_unscii_8, false);
	voltage_value_label = create_label(main_container, "3.30V", 90, 55, lv_color_hex(0xFFE066),
					   &lv_font_unscii_8, false);

	// 显示设备名称（字符串）
	create_label(main_container, "Device:", 5, 70, lv_color_white(), &lv_font_unscii_8, false);
	create_label(main_container, device_name, 90, 70, lv_color_hex(0xFF66FF), &lv_font_unscii_8,
		     false);

	// 显示状态（布尔值）
	create_label(main_container, "LED Status:", 5, 85, lv_color_white(), &lv_font_unscii_8,
		     false);
	status_label = create_label(main_container, led_status ? "ON" : "OFF", 90, 85,
				    led_status ? lv_color_hex(0x00FF00) : lv_color_hex(0xFF0000),
				    &lv_font_unscii_8, false);

	// 控制按钮
	create_button_with_label(main_container, "UPDATE", 50, 20, 140, 25, 4,
				 lv_color_hex(0x4CAF50), lv_color_white(), &lv_font_unscii_8,
				 update_variables_handler, NULL);

	create_button_with_label(main_container, "TOGGLE LED", 70, 20, 140, 50, 4,
				 lv_color_hex(0xFF9800), lv_color_white(), &lv_font_unscii_8,
				 toggle_led_handler, NULL);

	create_button_with_label(main_container, "RESET", 50, 20, 140, 75, 4,
				 lv_color_hex(0xF44336), lv_color_white(), &lv_font_unscii_8,
				 reset_variables_handler, NULL);
}

// 更新变量的事件处理函数
static void update_variables_handler(lv_event_t *e)
{
	if (lv_event_get_code(e) == LV_EVENT_CLICKED) {
		// 模拟变量变化
		system_temperature += (rand() % 10) - 5;            // ±5度变化
		cpu_usage = (cpu_usage + (rand() % 20) - 10) % 100; // ±10%变化
		voltage += ((rand() % 20) - 10) * 0.01f;            // ±0.1V变化

		// 限制范围
		if (system_temperature < 0) {
			system_temperature = 0;
		}
		if (system_temperature > 100) {
			system_temperature = 100;
		}
		if (cpu_usage < 0) {
			cpu_usage = 0;
		}
		if (voltage < 0) {
			voltage = 0;
		}
		if (voltage > 5.0f) {
			voltage = 5.0f;
		}

		// 更新显示 - 方法1：使用整数避免浮点格式化问题
		lv_label_set_text_fmt(temp_value_label, "%d°C", system_temperature);
		lv_label_set_text_fmt(cpu_value_label, "%d%%", cpu_usage);

		// 电压使用整数方法格式化
		int volt_int = (int)(voltage * 100);
		int volt_whole = volt_int / 100;
		int volt_frac = volt_int % 100;
		lv_label_set_text_fmt(voltage_value_label, "%d.%02dV", volt_whole, volt_frac);

		printf("Variables updated: Temp=%d°C, CPU=%d%%, Voltage=%.2fV\n",
		       system_temperature, cpu_usage, (double)voltage);
	}
}

// 切换LED状态的事件处理函数
static void toggle_led_handler(lv_event_t *e)
{
	if (lv_event_get_code(e) == LV_EVENT_CLICKED) {
		led_status = !led_status;

		// 更新显示 -
		// 方法2：使用lv_label_set_text()设置文本，lv_obj_set_style_text_color()设置颜色
		lv_label_set_text(status_label, led_status ? "ON" : "OFF");
		lv_obj_set_style_text_color(
			status_label, led_status ? lv_color_hex(0x00FF00) : lv_color_hex(0xFF0000),
			0);

		printf("LED toggled: %s\n", led_status ? "ON" : "OFF");
	}
}

// 重置变量的事件处理函数
static void reset_variables_handler(lv_event_t *e)
{
	if (lv_event_get_code(e) == LV_EVENT_CLICKED) {
		// 重置所有变量到初始值
		system_temperature = 25;
		cpu_usage = 45;
		voltage = 3.3f;
		led_status = false;

		// 更新显示
		lv_label_set_text_fmt(temp_value_label, "%d°C", system_temperature);
		lv_label_set_text_fmt(cpu_value_label, "%d%%", cpu_usage);

		// 电压重置为3.30V
		int volt_int = (int)(voltage * 100);
		int volt_whole = volt_int / 100;
		int volt_frac = volt_int % 100;
		lv_label_set_text_fmt(voltage_value_label, "%d.%02dV", volt_whole, volt_frac);
		lv_label_set_text(status_label, "OFF");
		lv_obj_set_style_text_color(status_label, lv_color_hex(0xFF0000), 0);

		printf("All variables reset to default values\n");
	}
}

/**
 * 示例5：进度条和滑动条的变量绑定
 */
void create_progress_variable_example(void)
{
	lv_obj_t *screen = lv_screen_active();

	// 创建主容器
	lv_obj_t *main_container =
		create_container(screen, 240, 135, 0, 0, 8, 1, 8, lv_color_hex(0x2C2C2C), 1);

	// 标题
	create_label(main_container, "PROGRESS CONTROL", 120, 5, lv_color_hex(0x66CCFF),
		     &lv_font_unscii_8, true);

	// CPU使用率进度条（绑定到cpu_usage变量）
	create_label(main_container, "CPU Usage:", 5, 25, lv_color_white(), &lv_font_unscii_8,
		     false);
	lv_obj_t *cpu_progress =
		create_progress_bar(main_container, 150, 12, 5, 40, 0, 100, cpu_usage,
				    lv_color_hex(0x404040), lv_color_hex(0x00FF88));

	// 温度进度条（绑定到temperature变量）
	create_label(main_container, "Temperature:", 5, 60, lv_color_white(), &lv_font_unscii_8,
		     false);
	lv_obj_t *temp_progress =
		create_progress_bar(main_container, 150, 12, 5, 75, 0, 100, system_temperature,
				    lv_color_hex(0x404040), lv_color_hex(0xFF6B35));

	// 电压滑动条（可以修改voltage变量）
	create_label(main_container, "Set Voltage:", 5, 95, lv_color_white(), &lv_font_unscii_8,
		     false);
	lv_obj_t *voltage_slider = create_slider(main_container, 150, 15, 5, 110, 0, 500,
						 (int)(voltage * 100), lv_color_hex(0x2196F3),
						 lv_color_hex(0xFFFFFF), voltage_slider_handler);

	// 保存进度条对象指针供后续更新使用
	lv_obj_set_user_data(cpu_progress, "cpu_progress");
	lv_obj_set_user_data(temp_progress, "temp_progress");
	lv_obj_set_user_data(voltage_slider, "voltage_slider");
}

// 电压滑动条事件处理函数
static void voltage_slider_handler(lv_event_t *e)
{
	lv_obj_t *slider = lv_event_get_target_obj(e);
	int32_t value = lv_slider_get_value(slider);

	// 将滑动条值（0-500）转换为电压（0.0-5.0V）
	voltage = value / 100.0f;

	printf("Voltage set to: %.2fV\n", (double)voltage);
}

/**
 * 示例6：定时器更新变量显示
 */
static lv_timer_t *update_timer = NULL;

void create_timer_update_example(void)
{
	lv_obj_t *screen = lv_screen_active();

	// 创建主容器
	lv_obj_t *main_container =
		create_container(screen, 240, 135, 0, 0, 8, 1, 8, lv_color_hex(0x0F1419), 1);

	// 标题
	create_label(main_container, "AUTO UPDATE", 120, 5, lv_color_hex(0x00D9FF),
		     &lv_font_unscii_8, true);

	// 创建实时更新的数据显示
	create_label(main_container, "Real-time Data:", 5, 25, lv_color_white(), &lv_font_unscii_8,
		     false);

	// 系统运行时间
	create_label(main_container, "Uptime:", 5, 40, lv_color_white(), &lv_font_unscii_8, false);
	lv_obj_t *uptime_label = create_label(main_container, "0s", 80, 40, lv_color_hex(0x00FF88),
					      &lv_font_unscii_8, false);

	// 随机数据
	create_label(main_container, "Random:", 5, 55, lv_color_white(), &lv_font_unscii_8, false);
	lv_obj_t *random_label = create_label(main_container, "0", 80, 55, lv_color_hex(0xFF6B35),
					      &lv_font_unscii_8, false);

	// 计数器
	create_label(main_container, "Counter:", 5, 70, lv_color_white(), &lv_font_unscii_8, false);
	lv_obj_t *counter_label = create_label(main_container, "0", 80, 70, lv_color_hex(0xFFE066),
					       &lv_font_unscii_8, false);

	// 启动/停止按钮
	create_button_with_label(main_container, "START TIMER", 80, 20, 5, 90, 4,
				 lv_color_hex(0x4CAF50), lv_color_white(), &lv_font_unscii_8,
				 start_timer_handler, NULL);

	create_button_with_label(main_container, "STOP TIMER", 80, 20, 90, 90, 4,
				 lv_color_hex(0xF44336), lv_color_white(), &lv_font_unscii_8,
				 stop_timer_handler, NULL);

	// 保存标签对象指针
	lv_obj_set_user_data(uptime_label, "uptime");
	lv_obj_set_user_data(random_label, "random");
	lv_obj_set_user_data(counter_label, "counter");
}

// 定时器回调函数 - 每秒更新一次数据
static void timer_update_cb(lv_timer_t *timer)
{
	static int counter = 0;
	static uint32_t start_time = 0;

	if (start_time == 0) {
		start_time = lv_tick_get();
	}

	counter++;
	uint32_t uptime = (lv_tick_get() - start_time) / 1000; // 秒
	int random_value = rand() % 1000;

	// 查找标签对象并更新（这里需要你根据实际情况获取对象指针）
	// 实际应用中，你应该将这些对象指针保存为全局变量
	printf("Timer update: Uptime=%ds, Counter=%d, Random=%d\n", (int)uptime, counter,
	       random_value);
}

// 启动定时器事件处理函数
static void start_timer_handler(lv_event_t *e)
{
	if (lv_event_get_code(e) == LV_EVENT_CLICKED) {
		if (update_timer == NULL) {
			update_timer =
				lv_timer_create(timer_update_cb, 1000, NULL); // 每1000ms执行一次
			printf("Timer started\n");
		}
	}
}

// 停止定时器事件处理函数
static void stop_timer_handler(lv_event_t *e)
{
	if (lv_event_get_code(e) == LV_EVENT_CLICKED) {
		if (update_timer != NULL) {
			lv_timer_delete(update_timer);
			update_timer = NULL;
			printf("Timer stopped\n");
		}
	}
}
```
